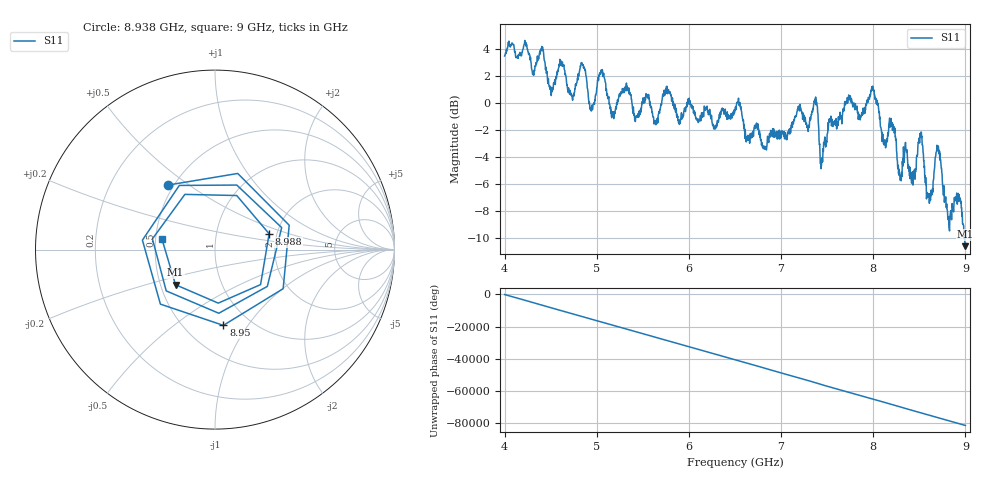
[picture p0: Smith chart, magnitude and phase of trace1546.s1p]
! Created with skrf 1.8.0 (http://scikit-rf.org).
# Hz S RI R 50.0
!freq ReS11 ImS11
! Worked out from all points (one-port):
!   1601 points, 4 GHz to 9 GHz, reference 50 ohm
!   lowest |S11| = -10.6 dB at 8.997 GHz (marker M1), VSWR 1.83, Z = 29.9 - j12.8 ohm
!   |S11| at or under -10 dB: 8.987224 GHz to 8.98902 GHz (1.796 MHz wide, 0.02 % of centre); 8.991533 GHz to end of sweep
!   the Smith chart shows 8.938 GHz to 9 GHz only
!   S11 on the Smith chart (normalised r, x): 8.938 GHz: 0.46, +0.42; 8.95 GHz: 0.75, -0.78; 8.988 GHz: 1.82, +0.36; 9 GHz: 0.54, +0.07
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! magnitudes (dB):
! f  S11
! 4 GHz  3.5
! 4.503 GHz  0.9
! 4.625 GHz  3.0
! 4.728 GHz  0.5
! 4.853 GHz  2.8
! 4.941 GHz  -0.6
! 5.05 GHz  2.3
! 5.172 GHz  -0.7
! 5.25 GHz  0.5
! 5.875 GHz  -1.1
! 6.5 GHz  -0.5
! 6.819 GHz  -3.3
! 7.125 GHz  -1.4
! 7.375 GHz  0.4
! 7.441 GHz  -4.4
! 7.75 GHz  0.4
! 8 GHz  1.0
! 8.288 GHz  -5.3
! 8.375 GHz  -4.5
! 8.512 GHz  -2.5
! 8.616 GHz  -7.3
! 8.706 GHz  -3.2
! 8.812 GHz  -8.6
! 8.938 GHz  -7.0
! 8.95 GHz  -7.4
! 8.988 GHz  -10.1
! 8.997 GHz  -10.6
! 9 GHz  -10.4
